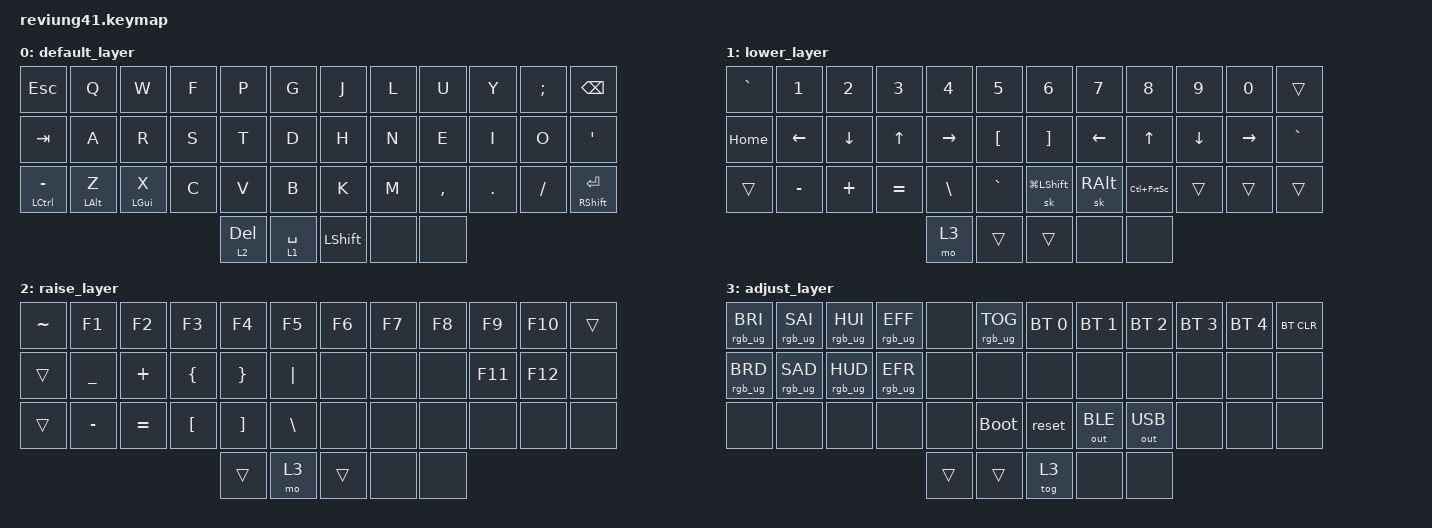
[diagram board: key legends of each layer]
/*
 * Copyright (c) 2020 The ZMK Contributors
 *
 * SPDX-License-Identifier: MIT
 */

#include <behaviors.dtsi>
#include <dt-bindings/zmk/keys.h>
#include <dt-bindings/zmk/bt.h>
#include <dt-bindings/zmk/rgb.h>
#include <dt-bindings/zmk/outputs.h>

/ {
	behaviors {
	// 	rst: boot_reset 
	// 	{
	// 		compatible = "zmk,behavior-hold-tap";
	// 		label = "Bootloader Tap - Reset Hold";
	// 		#binding-cells = <2>;
	// 		tapping_term_ms = <200>;
        //     flavor = "balanced";
	// 		bindings = <&reset>, <&bootloader>;
        // };

        bh: layer_taps 
		{
			compatible = "zmk,behavior-hold-tap";
			label = "Layer-Tap";
			#binding-cells = <2>;
			tapping_term_ms = <215>;
            flavor = "tap-preferred";
			bindings = <&mo>, <&kp>;
        };

        hm: homerow_mods0 
		{
			compatible = "zmk,behavior-hold-tap";
			label = "homerow mods";
			#binding-cells = <2>;
			tapping_term_ms = <230>;
            flavor = "tap-preferred";
			bindings = <&kp>, <&kp>;
        };
        
        // hm1: homerow_mods1 
		// {
		// 	compatible = "zmk,behavior-hold-tap";
		// 	label = "homerow mods";
		// 	#binding-cells = <2>;
		// 	tapping_term_ms = <205>;
        //     flavor = "tap-preferred";
		// 	bindings = <&kp>, <&kp>;
        // };

        // hm2: homerow_mods2 
	// 	{
	// 		compatible = "zmk,behavior-hold-tap";
	// 		label = "homerow mods 2";
	// 		#binding-cells = <2>;
	// 		tapping_term_ms = <250>;
        //     flavor = "tap-preferred";
	// 		bindings = <&kp>, <&kp>;
        // };

        // com_col: comma_semicolon
	// 	{
	// 	 	compatible = "zmk,behavior-hold-tap";
	//      	label = "Tap comma_hold colon";
	// 		#binding-cells = <2>;
	// 		tapping_term_ms = <150>;
        //     flavor = "balanced";
	// 	 	bindings = <&kp>, <&kp>;
	//     };
   	 };
};


/ {
        keymap {
                compatible = "zmk,keymap";

                default_layer {
// -------------------------------------------------------------------------------------
// |  TAB |  Q  |  W  |  E  |  R  |  T  |   |  Y  |  U   |  I  |  O  |  P  |   BKSP    |
// | CTRL |  A  |  S  |  D  |  F  |  G  |   |  H  |  J   |  K  |  L  |  ;  |    '      |
// | SHFT |  Z  |  X  |  C  |  V  |  B  |   |  N  |  M   |  ,  |  .  |  /  | SHFT(RET) |
//                         | ALT | LWR | SPC | RSE  | ALT |
                        bindings = <
   &kp ESC   &kp Q &kp W &kp F &kp P &kp G   &kp J &kp L  &kp U     &kp Y   &kp SEMI    &kp BSPC
   &kp TAB &kp A &kp R &kp S &kp T &kp D  &kp H &kp N  &kp E     &kp I   &kp O &kp SQT
   &hm LCTRL MINUS &hm LEFT_ALT Z &hm LEFT_GUI X &kp C &kp V &kp B   &kp K &kp M  &kp COMMA &kp DOT &kp FSLH &mt RSHFT RET
                        &bh 2 DEL  &bh 1 SPACE &kp LEFT_SHIFT &none  &none
                        >;
                };

                lower_layer {
// ----------------------------------------------------------------------------------
// |    |  !  |  @  |  #  |  $  |  %  |   |  ^  |  &  |  *  |  (  |  )  |    DEL    |
// |    |  _  |  +  |  {  |  }  | "|" |   | LFT | DWN |  UP | RGT |  `  |     ~     |
// |    | ESC | GUI | ALT | CAPS|  "  |   | HOME| END | PGUP| PGDN| PRSC| SHFT(RET) |
//                       |     |     | RET | ADJ |     |
                        bindings = <
   &kp GRAVE &kp N1    &kp N2    &kp N3    &kp N4    &kp N5        &kp N6    &kp N7    &kp N8    &kp N9    &kp N0    &trans
   &kp HOME &kp LEFT &kp DOWN &kp UP &kp RIGHT &kp LBKT       &kp RBKT  &kp LEFT &kp UP    &kp DOWN &kp RIGHT &kp GRAVE
   &trans &kp MINUS   &kp PLUS   &kp EQUAL &kp BACKSLASH &kp GRAVE        &sk LG(LSHFT)  &sk RALT  &kp LC(PRINTSCREEN) &trans &trans &trans
                                 &mo 3      &trans       &trans        &none       &none
                        >;
                };

                raise_layer {
// -----------------------------------------------------------------------------------------
// |    |  1  |  2  |  3  |  4  |  5  |   |  6  |  7  |  8  |  9  |  0  | DEL |
// |    |  -  |  =  |  [  |  ]  |  \  |   | F1  | F2  | F3  | F4  | F5  | F6  |
// |    | ESC | GUI | ALT | CAPS|  "  |   | F7  | F8  | F9  | F10 | F11 | F12 |
//                       |     | ADJ | BKSP |    |     |
                        bindings = <
   &kp TILDE &kp F1    &kp F2    &kp F3    &kp F4    &kp F5        &kp F6    &kp F7    &kp F8    &kp F9    &kp F10    &trans
   &trans &kp UNDER &kp PLUS &kp LBRC  &kp RBRC  &kp PIPE      &none    &none    &none    &kp F11    &kp F12    &none
   &trans &kp MINUS   &kp EQUAL  &kp LBKT  &kp RBKT  &kp BSLH       &none    &none    &none    &none    &none    &none 
                                &trans      &mo 3       &trans        &none      &none
                        >;
                };

                adjust_layer {
// -----------------------------------------------------------------------------------------
// | RGB BRI+ | RGB SAT+ | RGB HUE+ | RGB ANI+ |    | RGB TOG |   |  BT1  | BT2 | BT3 | BT4 | BT5 | BT CLR |
// | RGB BRI- | RGB SAT- | RGB HUE- | RGB ANI+ |    |         |   |       |     |     |     |     |        |
// |          |          |          |          |    |         |   | RESET |     |     |     |     |        |
//                                              |     |     |     |     |     |
                        bindings = <
   &rgb_ug RGB_BRI &rgb_ug RGB_SAI &rgb_ug RGB_HUI &rgb_ug RGB_EFF &none &rgb_ug RGB_TOG    &bt BT_SEL 0 &bt BT_SEL 1 &bt BT_SEL 2 &bt BT_SEL 3 &bt BT_SEL 4 &bt BT_CLR
   &rgb_ug RGB_BRD &rgb_ug RGB_SAD &rgb_ug RGB_HUD &rgb_ug RGB_EFR &none &none              &none        &none        &none        &none        &none        &none
   &none           &none           &none           &none           &none &bootloader        &reset       &out OUT_BLE  &out OUT_USB      &none        &none        &none
                                                             &trans      &trans       &tog 3        &none      &none
                        >;
                };
        };
};
